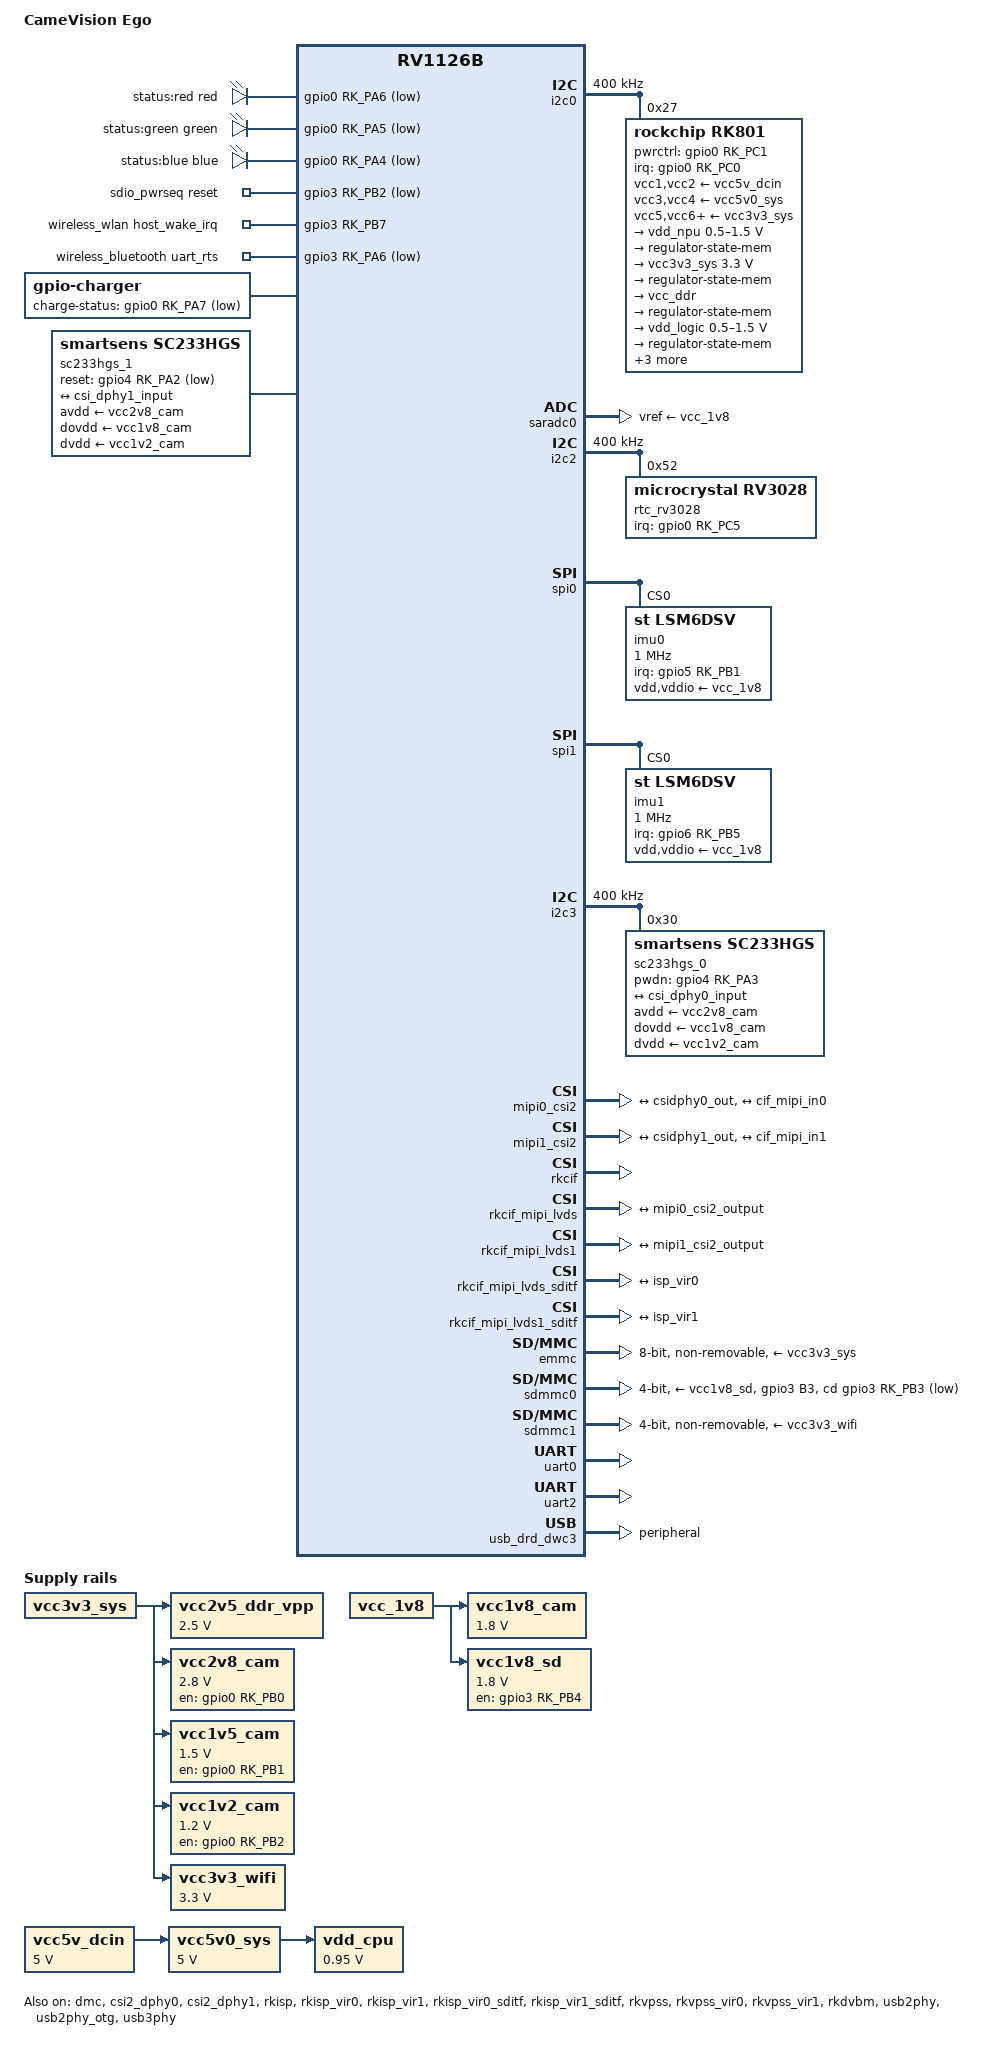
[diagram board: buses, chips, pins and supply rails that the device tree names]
// SPDX-License-Identifier: (GPL-2.0+ OR MIT)
/*
 * CameVision Ego — RV1126B, schematic CameVisionEgo V1.I1 (2026-07-15)
 *
 * Pin map is net name → BGA pad → GPIO, from schematic-ego/schematic_text.txt,
 * checked against the RV1126B pinctrl groups in the SoC dtsi.
 *
 * Same as Single (do not "correct" these from the PDF RAM/IMU labels):
 *   DDR4 U3     K4A8G165WG 16-bit 1 GB (PDF says K4A4G165WG — wrong)
 *   IMU U9/U12  LSM6DSVQTR x2     (PDF says LSM6DSV320XTR — wrong)
 *   eMMC U2A    BWCTAK611G16G     (same MPN on Single)
 *
 * Ego-only vs Single:
 *   two SC233HGS (CSI0+I2C3, CSI1+I2C4), two SPI IMUs, microSD on SDMMC0,
 *   Wi-Fi GPIOs moved off GPIO2 (that bank is the SD card), BQ24072 CHG,
 *   camera LDO enables on GPIO0_B0/B1/B2.
 *
 * Do not use stock sdmmc0_detn_pins (GPIO0_A5) — that pad is the green LED.
 */

/dts-v1/;

#include <dt-bindings/gpio/gpio.h>
#include <dt-bindings/input/input.h>
#include <dt-bindings/interrupt-controller/arm-gic.h>
#include <dt-bindings/interrupt-controller/irq.h>
#include <dt-bindings/leds/common.h>
#include <dt-bindings/pinctrl/rockchip.h>
#include <dt-bindings/clock/rockchip,rv1126b-cru.h>
#include "rv1126b.dtsi"

/ {
	model = "CameVision Ego";
	compatible = "camemake,camevision-ego", "rockchip,rv1126b";

	chosen {
		stdout-path = "serial0:1500000n8";
	};

	fiq_debugger: fiq-debugger {
		compatible = "rockchip,fiq-debugger";
		rockchip,serial-id = <0>;
		rockchip,wake-irq = <0>;
		rockchip,irq-mode-enable = <1>;
		rockchip,baudrate = <1500000>;
		interrupts = <GIC_SPI 233 IRQ_TYPE_LEVEL_HIGH>;
		pinctrl-names = "default";
		pinctrl-0 = <&uart0m2_xfer_pins>;
		status = "okay";
	};

	vcc5v_dcin: vcc5v-dcin {
		compatible = "regulator-fixed";
		regulator-name = "vcc5v_dcin";
		regulator-always-on;
		regulator-boot-on;
		regulator-min-microvolt = <5000000>;
		regulator-max-microvolt = <5000000>;
	};

	vcc5v0_sys: vcc5v0-sys {
		compatible = "regulator-fixed";
		regulator-name = "vcc5v0_sys";
		regulator-always-on;
		regulator-boot-on;
		regulator-min-microvolt = <5000000>;
		regulator-max-microvolt = <5000000>;
		vin-supply = <&vcc5v_dcin>;
	};

	vdd_cpu: vdd-cpu {
		compatible = "regulator-fixed";
		regulator-name = "vdd_cpu";
		regulator-always-on;
		regulator-boot-on;
		regulator-min-microvolt = <950000>;
		regulator-max-microvolt = <950000>;
		vin-supply = <&vcc5v0_sys>;
	};

	vcc2v5_ddr_vpp: vcc2v5-ddr-vpp {
		compatible = "regulator-fixed";
		regulator-name = "vcc2v5_ddr_vpp";
		regulator-always-on;
		regulator-boot-on;
		regulator-min-microvolt = <2500000>;
		regulator-max-microvolt = <2500000>;
		vin-supply = <&vcc3v3_sys>;
	};

	/* U15 LDLN025PU28R. "PWR_EN_2.8V" GPIO0_B0, pad 1AB4. */
	vcc2v8_cam: vcc2v8-cam {
		compatible = "regulator-fixed";
		regulator-name = "vcc2v8_cam";
		regulator-min-microvolt = <2800000>;
		regulator-max-microvolt = <2800000>;
		regulator-boot-on;
		regulator-always-on;
		gpio = <&gpio0 RK_PB0 GPIO_ACTIVE_HIGH>;
		enable-active-high;
		startup-delay-us = <1000>;
		pinctrl-names = "default";
		pinctrl-0 = <&cam_avdd_en>;
		vin-supply = <&vcc3v3_sys>;
	};

	/* U16 MIC5317-1.5. "PWR_EN_1.5V" GPIO0_B1, pad 1AA4. */
	vcc1v5_cam: vcc1v5-cam {
		compatible = "regulator-fixed";
		regulator-name = "vcc1v5_cam";
		regulator-min-microvolt = <1500000>;
		regulator-max-microvolt = <1500000>;
		regulator-boot-on;
		regulator-always-on;
		gpio = <&gpio0 RK_PB1 GPIO_ACTIVE_HIGH>;
		enable-active-high;
		startup-delay-us = <1000>;
		pinctrl-names = "default";
		pinctrl-0 = <&cam_1v5_en>;
		vin-supply = <&vcc3v3_sys>;
	};

	/* U18 SGM2036-1.2. "PWR_EN_1.2V" GPIO0_B2, pad 1AC2. SC233 DVDD. */
	vcc1v2_cam: vcc1v2-cam {
		compatible = "regulator-fixed";
		regulator-name = "vcc1v2_cam";
		regulator-min-microvolt = <1200000>;
		regulator-max-microvolt = <1200000>;
		regulator-boot-on;
		regulator-always-on;
		gpio = <&gpio0 RK_PB2 GPIO_ACTIVE_HIGH>;
		enable-active-high;
		startup-delay-us = <1000>;
		pinctrl-names = "default";
		pinctrl-0 = <&cam_dvdd_en>;
		vin-supply = <&vcc3v3_sys>;
	};

	vcc1v8_cam: vcc1v8-cam {
		compatible = "regulator-fixed";
		regulator-name = "vcc1v8_cam";
		regulator-always-on;
		regulator-boot-on;
		regulator-min-microvolt = <1800000>;
		regulator-max-microvolt = <1800000>;
		vin-supply = <&vcc_1v8>;
	};

	/*
	 * microSD U6 is switched 1.8 V ("+1.8V_SDC_PWR").
	 * "SDMMC0_PWREN" GPIO3_B4, pad 1A14. Do not use dtsi sdmmc0_pwren
	 * (that group is GPIO0_A10).
	 */
	vcc1v8_sd: vcc1v8-sd {
		compatible = "regulator-fixed";
		regulator-name = "vcc1v8_sd";
		regulator-min-microvolt = <1800000>;
		regulator-max-microvolt = <1800000>;
		gpio = <&gpio3 RK_PB4 GPIO_ACTIVE_HIGH>;
		enable-active-high;
		startup-delay-us = <20000>;
		pinctrl-names = "default";
		pinctrl-0 = <&sd_pwren>;
		vin-supply = <&vcc_1v8>;
	};

	/*
	 * Module 3.3 V is switched by WIFI_RST / WIFI_POW_EN (GPIO3_B2) in
	 * sdio-pwrseq. WIFI_SOC_PWCTL GPIO3_B6 is HOST_WAKE, not the rail.
	 * Live FIT uses vcc_3v3 as vmmc; keep this always-on so a compiled
	 * tree does not steal GPIO3_B2 from pwrseq.
	 */
	vcc3v3_wifi: vcc3v3-wifi {
		compatible = "regulator-fixed";
		regulator-name = "vcc3v3_wifi";
		regulator-always-on;
		regulator-boot-on;
		regulator-min-microvolt = <3300000>;
		regulator-max-microvolt = <3300000>;
		vin-supply = <&vcc3v3_sys>;
	};

	/*
	 * D1 common-anode RGB, active low. Same pads as Single:
	 *   STATUS_LED_R  GPIO0_A6  pad 1AA6
	 *   STATUS_LED_G  GPIO0_A5  pad AL10
	 *   STATUS_LED_B  GPIO0_A4  pad 1AB6
	 */
	leds: gpio-leds {
		compatible = "gpio-leds";
		pinctrl-names = "default";
		pinctrl-0 = <&status_led_pins>;

		status_led_r: led-0 {
			label = "status:red";
			color = <LED_COLOR_ID_RED>;
			function = LED_FUNCTION_STATUS;
			gpios = <&gpio0 RK_PA6 GPIO_ACTIVE_LOW>;
			default-state = "off";
		};

		status_led_g: led-1 {
			label = "status:green";
			color = <LED_COLOR_ID_GREEN>;
			function = LED_FUNCTION_STATUS;
			gpios = <&gpio0 RK_PA5 GPIO_ACTIVE_LOW>;
			default-state = "on";
		};

		status_led_b: led-2 {
			label = "status:blue";
			color = <LED_COLOR_ID_BLUE>;
			function = LED_FUNCTION_STATUS;
			gpios = <&gpio0 RK_PA4 GPIO_ACTIVE_LOW>;
			default-state = "off";
		};
	};

	sdio_pwrseq: sdio-pwrseq {
		compatible = "mmc-pwrseq-simple";
		pinctrl-names = "default";
		pinctrl-0 = <&wifi_reg_on>;
		post-power-on-delay-ms = <200>;
		/*
		 * "WIFI_RST" GPIO3_B2, pad 1B16. On Ego this net is also
		 * CHIP_EN and WIFI_POW_EN (3.3 V switch). Active-low so
		 * deassert keeps the module powered. Do not copy Single's
		 * active-high RST — that leaves CHIP_EN low after pwrseq.
		 */
		reset-gpios = <&gpio3 RK_PB2 GPIO_ACTIVE_LOW>;
	};

	wireless_wlan: wireless-wlan {
		compatible = "wlan-platdata";
		wifi_chip_type = "vs6621";
		pinctrl-names = "default";
		pinctrl-0 = <&wifi_wake_host>;
		/* "WIFI_INT" GPIO3_B7, pad A16. On Single this was GPIO2_A5. */
		WIFI,host_wake_irq = <&gpio3 RK_PB7 GPIO_ACTIVE_HIGH>;
		status = "okay";
	};

	wireless_bluetooth: wireless-bluetooth {
		compatible = "bluetooth-platdata";
		uart_rts_gpios = <&gpio3 RK_PA6 GPIO_ACTIVE_LOW>;
		pinctrl-names = "default", "rts_gpio";
		pinctrl-0 = <&uart2m0_rtsn_pins>;
		pinctrl-1 = <&uart2_gpios>;
		status = "okay";
	};

	/* U13 BQ24072RGTR. CHG → "BAT_CHG" GPIO0_A7, pad 1AC4, active low. */
	charger: gpio-charger {
		compatible = "gpio-charger";
		charger-type = "usb";
		charge-status-gpios = <&gpio0 RK_PA7 GPIO_ACTIVE_LOW>;
		pinctrl-names = "default";
		pinctrl-0 = <&bat_chg_pins>;
		status = "okay";
	};
};

/* ---------------------------------------------------------------- power --- */

&i2c0 {
	status = "okay";
	clock-frequency = <400000>;
	pinctrl-names = "default";
	pinctrl-0 = <&i2c0m0_pins>;

	rk801: pmic@27 {
		compatible = "rockchip,rk801";
		reg = <0x27>;
		interrupt-parent = <&gpio0>;
		interrupts = <RK_PC0 IRQ_TYPE_LEVEL_LOW>;
		pwrctrl-gpios = <&gpio0 RK_PC1 GPIO_ACTIVE_HIGH>;
		pinctrl-names = "default", "pmic-reset";
		pinctrl-0 = <&pmic_int_pins>;
		pinctrl-1 = <&pmic_pwrctrl_pins>;
		rockchip,system-power-controller;
		wakeup-source;
		status = "okay";

		vcc1-supply = <&vcc5v_dcin>;
		vcc2-supply = <&vcc5v_dcin>;
		vcc3-supply = <&vcc5v0_sys>;
		vcc4-supply = <&vcc5v0_sys>;
		vcc5-supply = <&vcc3v3_sys>;
		vcc6-supply = <&vcc3v3_sys>;
		vcc7-supply = <&vcc3v3_sys>;

		regulators {
			vdd_npu: DCDC_REG1 {
				regulator-name = "vdd_npu";
				regulator-min-microvolt = <500000>;
				regulator-max-microvolt = <1500000>;
				regulator-initial-mode = <0x1>;
				regulator-boot-on;
				regulator-always-on;

				regulator-state-mem {
					regulator-mode = <0x2>;
					regulator-off-in-suspend;
				};
			};

			vcc3v3_sys: DCDC_REG2 {
				regulator-name = "vcc3v3_sys";
				regulator-min-microvolt = <3300000>;
				regulator-max-microvolt = <3300000>;
				regulator-initial-mode = <0x1>;
				regulator-boot-on;
				regulator-always-on;

				regulator-state-mem {
					regulator-mode = <0x2>;
					regulator-on-in-suspend;
					regulator-suspend-microvolt = <3300000>;
				};
			};

			vcc_ddr: DCDC_REG3 {
				regulator-name = "vcc_ddr";
				regulator-initial-mode = <0x1>;
				regulator-boot-on;
				regulator-always-on;

				regulator-state-mem {
					regulator-mode = <0x2>;
					regulator-on-in-suspend;
				};
			};

			vdd_logic: DCDC_REG4 {
				regulator-name = "vdd_logic";
				regulator-min-microvolt = <500000>;
				regulator-max-microvolt = <1500000>;
				regulator-initial-mode = <0x1>;
				regulator-boot-on;
				regulator-always-on;

				regulator-state-mem {
					regulator-mode = <0x2>;
					regulator-on-in-suspend;
					regulator-suspend-microvolt = <900000>;
				};
			};

			vdd0v9_sys: LDO_REG1 {
				regulator-name = "vdd0v9_sys";
				regulator-min-microvolt = <900000>;
				regulator-max-microvolt = <900000>;
				regulator-boot-on;
				regulator-always-on;

				regulator-state-mem {
					regulator-on-in-suspend;
					regulator-suspend-microvolt = <900000>;
				};
			};

			vcc_1v8: LDO_REG2 {
				regulator-name = "vcc_1v8";
				regulator-min-microvolt = <1800000>;
				regulator-max-microvolt = <1800000>;
				regulator-boot-on;
				regulator-always-on;

				regulator-state-mem {
					regulator-on-in-suspend;
					regulator-suspend-microvolt = <1800000>;
				};
			};

			vcc_3v3: SWITCH_REG {
				regulator-name = "vcc_3v3";
				regulator-boot-on;
				regulator-always-on;

				regulator-state-mem {
					regulator-on-in-suspend;
				};
			};
		};
	};
};

&cpu0 {
	cpu-supply = <&vdd_cpu>;
};

&dmc {
	center-supply = <&vdd_logic>;
	status = "okay";
};

&saradc0 {
	status = "okay";
	vref-supply = <&vcc_1v8>;
};

/* ----------------------------------------------------------- rtc / imu --- */

&i2c2 {
	status = "okay";
	clock-frequency = <400000>;
	pinctrl-names = "default";
	pinctrl-0 = <&i2c2m0_pins>;

	rtc_rv3028: rtc@52 {
		compatible = "microcrystal,rv3028";
		reg = <0x52>;
		interrupt-parent = <&gpio0>;
		interrupts = <RK_PC5 IRQ_TYPE_LEVEL_LOW>;
		pinctrl-names = "default";
		pinctrl-0 = <&rtc_int_pins>;
		wakeup-source;
		status = "okay";
	};
};

/* IMU0 U9 next to Cam 0. SPI0_M2 on GPIO5_A3/A4/A5/A6. */
&spi0 {
	status = "okay";
	max-freq = <10000000>;
	pinctrl-names = "default";
	pinctrl-0 = <&spi0m2_clk_pins &spi0m2_csn0_pins>;

	imu0: imu@0 {
		compatible = "st,lsm6dsv";
		reg = <0>;
		spi-max-frequency = <1000000>;
		spi-cpha;
		spi-cpol;
		interrupt-parent = <&gpio5>;
		interrupts = <RK_PB1 IRQ_TYPE_EDGE_RISING>;	/* IMU0_INT1, 1K23 */
		st,drdy-int-pin = <1>;
		st,disable-sensor-hub;
		st,odr-triggered;
		pinctrl-names = "default";
		pinctrl-0 = <&imu0_int_pins>;
		vdd-supply = <&vcc_1v8>;
		vddio-supply = <&vcc_1v8>;
		mount-matrix = "1", "0", "0",
			       "0", "1", "0",
			       "0", "0", "1";
		status = "okay";
	};
};

/* IMU1 U12 next to Cam 1. Same SPI1_M0 pads as the Single IMU. */
&spi1 {
	status = "okay";
	max-freq = <10000000>;
	pinctrl-names = "default";
	pinctrl-0 = <&spi1m0_clk_pins &spi1m0_csn0_pins>;

	imu1: imu@0 {
		compatible = "st,lsm6dsv";
		reg = <0>;
		spi-max-frequency = <1000000>;
		spi-cpha;
		spi-cpol;
		interrupt-parent = <&gpio6>;
		interrupts = <RK_PB5 IRQ_TYPE_EDGE_RISING>;	/* IMU1_INT1, 1M22 */
		st,drdy-int-pin = <1>;
		st,disable-sensor-hub;
		st,odr-triggered;
		pinctrl-names = "default";
		pinctrl-0 = <&imu1_int_pins>;
		vdd-supply = <&vcc_1v8>;
		vddio-supply = <&vcc_1v8>;
		mount-matrix = "1", "0", "0",
			       "0", "1", "0",
			       "0", "0", "1";
		status = "okay";
	};
};

/* -------------------------------------------------------------- camera --- */

&i2c3 {
	status = "okay";
	clock-frequency = <400000>;
	pinctrl-names = "default";
	pinctrl-0 = <&i2c3m1_pins>;	/* GPIO4_A4/A5, I2C3_SCL/SDA_CAM */

	sc233hgs_0: sc233hgs@30 {
		compatible = "smartsens,sc233hgs";
		reg = <0x30>;
		clocks = <&cru CLK_CAM0_OUT>;
		clock-names = "xvclk";
		assigned-clocks = <&cru CLK_CAM0_OUT>;
		assigned-clock-rates = <27000000>;
		pinctrl-names = "default";
		pinctrl-0 = <&cam_clk0_pins &cam0_pwdn_pins>;
		/* "CAM0_PWDN" GPIO4_A3, pad 1V21. Single used GPIO4_A6. */
		pwdn-gpios = <&gpio4 RK_PA3 GPIO_ACTIVE_HIGH>;
		avdd-supply = <&vcc2v8_cam>;
		dovdd-supply = <&vcc1v8_cam>;
		dvdd-supply = <&vcc1v2_cam>;
		rockchip,camera-module-index = <0>;
		rockchip,camera-module-facing = "back";
		rockchip,camera-module-name = "efference-sc233hgs";
		rockchip,camera-module-lens-name = "default";
		status = "okay";

		port {
			sc233hgs0_out: endpoint {
				remote-endpoint = <&csi_dphy0_input>;
				data-lanes = <1 2 3 4>;
			};
		};
	};
};

/*
 * Cam 1 I2C is swapped on the PCB vs I2C4_M2 (schematic page 9 netlist):
 *   I2C4_SCL_CAM → U1.1T21 GPIO4_A6 (SoC function I2C4_SDA_M2) → U10.A3 SCL
 *   I2C4_SDA_CAM → U1.1T22 GPIO4_A7 (SoC function I2C4_SCL_M2) → U10.B3 SDA
 * Hardware I2C4 cannot swap those functions. Bit-bang the net names.
 * Live: ACK at 0x30 with SCL=A6 SDA=A7 and CAM1_PWDN raw high.
 */
&i2c4 {
	status = "disabled";
};

i2c_cam1: i2c-gpio-cam1 {
	compatible = "i2c-gpio";
	sda-gpios = <&gpio4 RK_PA7 GPIO_ACTIVE_HIGH>;
	scl-gpios = <&gpio4 RK_PA6 GPIO_ACTIVE_HIGH>;
	i2c-gpio,delay-us = <2>;
	#address-cells = <1>;
	#size-cells = <0>;

	sc233hgs_1: sc233hgs@30 {
		compatible = "smartsens,sc233hgs";
		reg = <0x30>;
		clocks = <&cru CLK_CAM1_OUT>;
		clock-names = "xvclk";
		assigned-clocks = <&cru CLK_CAM1_OUT>;
		assigned-clock-rates = <27000000>;
		pinctrl-names = "default";
		pinctrl-0 = <&cam_clk1_pins &cam1_pwdn_pins>;
		/* "CAM1_PWDN" GPIO4_A2, pad 1Y23. XSHUTDN high = run. */
		reset-gpios = <&gpio4 RK_PA2 GPIO_ACTIVE_LOW>;
		avdd-supply = <&vcc2v8_cam>;
		dovdd-supply = <&vcc1v8_cam>;
		dvdd-supply = <&vcc1v2_cam>;
		rockchip,camera-module-index = <1>;
		rockchip,camera-module-facing = "front";
		rockchip,camera-module-name = "efference-sc233hgs";
		rockchip,camera-module-lens-name = "default";
		status = "okay";

		port {
			sc233hgs1_out: endpoint {
				remote-endpoint = <&csi_dphy1_input>;
				data-lanes = <1 2 3 4>;
			};
		};
	};
};

&csi2_dphy0 {
	status = "okay";

	ports {
		#address-cells = <1>;
		#size-cells = <0>;

		port@0 {
			reg = <0>;
			#address-cells = <1>;
			#size-cells = <0>;

			csi_dphy0_input: endpoint@1 {
				reg = <1>;
				remote-endpoint = <&sc233hgs0_out>;
				data-lanes = <1 2 3 4>;
			};
		};

		port@1 {
			reg = <1>;
			#address-cells = <1>;
			#size-cells = <0>;

			csidphy0_out: endpoint@0 {
				reg = <0>;
				remote-endpoint = <&mipi0_csi2_input>;
			};
		};
	};
};

&csi2_dphy1 {
	status = "okay";

	ports {
		#address-cells = <1>;
		#size-cells = <0>;

		port@0 {
			reg = <0>;
			#address-cells = <1>;
			#size-cells = <0>;

			csi_dphy1_input: endpoint@1 {
				reg = <1>;
				remote-endpoint = <&sc233hgs1_out>;
				data-lanes = <1 2 3 4>;
			};
		};

		port@1 {
			reg = <1>;
			#address-cells = <1>;
			#size-cells = <0>;

			csidphy1_out: endpoint@0 {
				reg = <0>;
				remote-endpoint = <&mipi1_csi2_input>;
			};
		};
	};
};

/*
 * Cam 0: sc233hgs_0 -> csi2_dphy0 -> mipi0_csi2 -> rkcif_mipi_lvds
 *                      -> rkisp_vir0 -> rkvpss_vir0
 * Cam 1: sc233hgs_1 -> csi2_dphy1 -> mipi1_csi2 -> rkcif_mipi_lvds1
 *                      -> rkisp_vir1 -> rkvpss_vir1
 */
&mipi0_csi2 {
	status = "okay";

	ports {
		#address-cells = <1>;
		#size-cells = <0>;

		port@0 {
			reg = <0>;
			#address-cells = <1>;
			#size-cells = <0>;

			mipi0_csi2_input: endpoint@1 {
				reg = <1>;
				remote-endpoint = <&csidphy0_out>;
			};
		};

		port@1 {
			reg = <1>;
			#address-cells = <1>;
			#size-cells = <0>;

			mipi0_csi2_output: endpoint@0 {
				reg = <0>;
				remote-endpoint = <&cif_mipi_in0>;
			};
		};
	};
};

&mipi1_csi2 {
	status = "okay";

	ports {
		#address-cells = <1>;
		#size-cells = <0>;

		port@0 {
			reg = <0>;
			#address-cells = <1>;
			#size-cells = <0>;

			mipi1_csi2_input: endpoint@1 {
				reg = <1>;
				remote-endpoint = <&csidphy1_out>;
			};
		};

		port@1 {
			reg = <1>;
			#address-cells = <1>;
			#size-cells = <0>;

			mipi1_csi2_output: endpoint@0 {
				reg = <0>;
				remote-endpoint = <&cif_mipi_in1>;
			};
		};
	};
};

&rkcif {
	status = "okay";
};

&rkcif_mipi_lvds {
	status = "okay";

	port {
		cif_mipi_in0: endpoint {
			remote-endpoint = <&mipi0_csi2_output>;
		};
	};
};

&rkcif_mipi_lvds1 {
	status = "okay";

	port {
		cif_mipi_in1: endpoint {
			remote-endpoint = <&mipi1_csi2_output>;
		};
	};
};

&rkcif_mipi_lvds_sditf {
	status = "okay";

	port {
		mipi_lvds_sditf: endpoint {
			remote-endpoint = <&isp_vir0>;
		};
	};
};

&rkcif_mipi_lvds1_sditf {
	status = "okay";

	port {
		mipi_lvds1_sditf: endpoint {
			remote-endpoint = <&isp_vir1>;
		};
	};
};

&rkisp {
	status = "okay";
};

&rkisp_vir0 {
	status = "okay";

	port {
		#address-cells = <1>;
		#size-cells = <0>;

		isp_vir0: endpoint@0 {
			reg = <0>;
			remote-endpoint = <&mipi_lvds_sditf>;
		};
	};
};

&rkisp_vir1 {
	status = "okay";

	port {
		#address-cells = <1>;
		#size-cells = <0>;

		isp_vir1: endpoint@0 {
			reg = <0>;
			remote-endpoint = <&mipi_lvds1_sditf>;
		};
	};
};

&rkisp_vir0_sditf {
	status = "okay";

	port {
		isp_sditf0: endpoint {
			remote-endpoint = <&vpss0_in>;
		};
	};
};

&rkisp_vir1_sditf {
	status = "okay";

	port {
		isp_sditf1: endpoint {
			remote-endpoint = <&vpss1_in>;
		};
	};
};

&rkvpss {
	status = "okay";
};

&rkvpss_vir0 {
	status = "okay";

	port {
		vpss0_in: endpoint {
			remote-endpoint = <&isp_sditf0>;
		};
	};
};

&rkvpss_vir1 {
	status = "okay";

	port {
		vpss1_in: endpoint {
			remote-endpoint = <&isp_sditf1>;
		};
	};
};

&rkdvbm {
	status = "okay";
};

&dsi {
	status = "disabled";
};

/* ------------------------------------------------------ storage / wifi --- */

/* U2A BWCTAK611G16G, 8-bit eMMC, same part as Single. */
&emmc {
	status = "okay";
	bus-width = <8>;
	cap-mmc-highspeed;
	mmc-hs200-1_8v;
	non-removable;
	no-sd;
	no-sdio;
	rockchip,default-sample-phase = <90>;
	pinctrl-names = "default";
	pinctrl-0 = <&emmc_pins>;
	vmmc-supply = <&vcc3v3_sys>;
	vqmmc-supply = <&vcc_1v8>;
};

/*
 * microSD on SDMMC0 (GPIO2_A0..A5). Card detect is GPIO3_B3 (1B14), not
 * the dtsi sdmmc0_detn group (GPIO0_A5 = green LED).
 */
&sdmmc0 {
	status = "okay";
	bus-width = <4>;
	cap-sd-highspeed;
	disable-wp;
	no-sdio;
	no-mmc;
	cd-gpios = <&gpio3 RK_PB3 GPIO_ACTIVE_LOW>;
	vmmc-supply = <&vcc1v8_sd>;
	vqmmc-supply = <&vcc_1v8>;
	pinctrl-names = "default";
	pinctrl-0 = <&sdmmc0_clk_pins &sdmmc0_cmd_pins &sdmmc0_bus4_pins &sd_cd_pins>;
};

&sdmmc1 {
	status = "okay";
	bus-width = <4>;
	cap-sd-highspeed;
	cap-sdio-irq;
	supports-highspeed;
	sd-uhs-sdr104;
	keep-power-in-suspend;
	non-removable;
	disable-wp;
	no-sd;
	no-mmc;
	max-frequency = <150000000>;
	mmc-pwrseq = <&sdio_pwrseq>;
	vmmc-supply = <&vcc3v3_wifi>;
	vqmmc-supply = <&vcc_1v8>;
	pinctrl-names = "default";
	pinctrl-0 = <&sdmmc1_clk_pins &sdmmc1_cmd_pins &sdmmc1_bus4_pins>;
};

/* ---------------------------------------------------------------- uart --- */

&uart0 {
	status = "okay";
	pinctrl-names = "default";
	pinctrl-0 = <&uart0m2_xfer_pins>;
};

&uart2 {
	status = "okay";
	pinctrl-names = "default";
	pinctrl-0 = <&uart2m0_xfer_pins &uart2m0_ctsn_pins &uart2m0_rtsn_pins>;
};

/* ----------------------------------------------------------------- usb --- */

&usb2phy {
	status = "okay";
};

&usb2phy_otg {
	status = "okay";
};

&usb3phy {
	status = "okay";
};

&usb_drd_dwc3 {
	status = "okay";
	dr_mode = "peripheral";
};

&usb_host_ehci {
	status = "disabled";
};

&usb_host_ohci {
	status = "disabled";
};

/* ------------------------------------------------------------- unused --- */

&gmac {
	status = "disabled";
};

&i2c1 {
	status = "disabled";
};

&i2c5 {
	status = "disabled";
};

/* -------------------------------------------------------------- pinmux --- */

&pinctrl {
	pmic {
		pmic_int_pins: pmic-int-pins {
			rockchip,pins = <0 RK_PC0 RK_FUNC_GPIO &pcfg_pull_up>;
		};

		pmic_pwrctrl_pins: pmic-pwrctrl-pins {
			rockchip,pins = <0 RK_PC1 RK_FUNC_GPIO &pcfg_output_high>;
		};
	};

	status-led {
		status_led_pins: status-led-pins {
			rockchip,pins =
				<0 RK_PA6 RK_FUNC_GPIO &pcfg_pull_none>,
				<0 RK_PA5 RK_FUNC_GPIO &pcfg_pull_none>,
				<0 RK_PA4 RK_FUNC_GPIO &pcfg_pull_none>;
		};
	};

	camera {
		cam0_pwdn_pins: cam0-pwdn-pins {
			rockchip,pins = <4 RK_PA3 RK_FUNC_GPIO &pcfg_pull_none>;
		};

		cam1_pwdn_pins: cam1-pwdn-pins {
			rockchip,pins = <4 RK_PA2 RK_FUNC_GPIO &pcfg_pull_none>;
		};

		cam_avdd_en: cam-avdd-en {
			rockchip,pins = <0 RK_PB0 RK_FUNC_GPIO &pcfg_output_high>;
		};

		cam_1v5_en: cam-1v5-en {
			rockchip,pins = <0 RK_PB1 RK_FUNC_GPIO &pcfg_output_high>;
		};

		cam_dvdd_en: cam-dvdd-en {
			rockchip,pins = <0 RK_PB2 RK_FUNC_GPIO &pcfg_output_high>;
		};
	};

	rtc {
		rtc_int_pins: rtc-int-pins {
			rockchip,pins = <0 RK_PC5 RK_FUNC_GPIO &pcfg_pull_up>;
		};

		rtc_evi_pins: rtc-evi-pins {
			rockchip,pins = <0 RK_PC4 RK_FUNC_GPIO &pcfg_pull_none>;
		};
	};

	imu {
		imu0_int_pins: imu0-int-pins {
			rockchip,pins =
				<5 RK_PB1 RK_FUNC_GPIO &pcfg_pull_none>,
				<5 RK_PD4 RK_FUNC_GPIO &pcfg_pull_none>;
		};

		imu1_int_pins: imu1-int-pins {
			rockchip,pins =
				<6 RK_PB5 RK_FUNC_GPIO &pcfg_pull_none>,
				<6 RK_PC1 RK_FUNC_GPIO &pcfg_pull_none>;
		};
	};

	sd-card {
		sd_cd_pins: sd-cd-pins {
			rockchip,pins = <3 RK_PB3 RK_FUNC_GPIO &pcfg_pull_up>;
		};

		sd_pwren: sd-pwren {
			rockchip,pins = <3 RK_PB4 RK_FUNC_GPIO &pcfg_output_high>;
		};
	};

	wifi {
		wifi_reg_on: wifi-reg-on {
			rockchip,pins = <3 RK_PB2 RK_FUNC_GPIO &pcfg_pull_none>;
		};

		wifi_pwctl_en: wifi-pwctl-en {
			rockchip,pins = <3 RK_PB6 RK_FUNC_GPIO &pcfg_output_low>;
		};

		wifi_wake_host: wifi-wake-host {
			rockchip,pins = <3 RK_PB7 RK_FUNC_GPIO &pcfg_pull_down>;
		};
	};

	bluetooth {
		uart2_gpios: uart2-gpios {
			rockchip,pins = <3 RK_PA6 RK_FUNC_GPIO &pcfg_pull_none>;
		};
	};

	battery {
		bat_chg_pins: bat-chg-pins {
			rockchip,pins = <0 RK_PA7 RK_FUNC_GPIO &pcfg_pull_up>;
		};
	};
};
